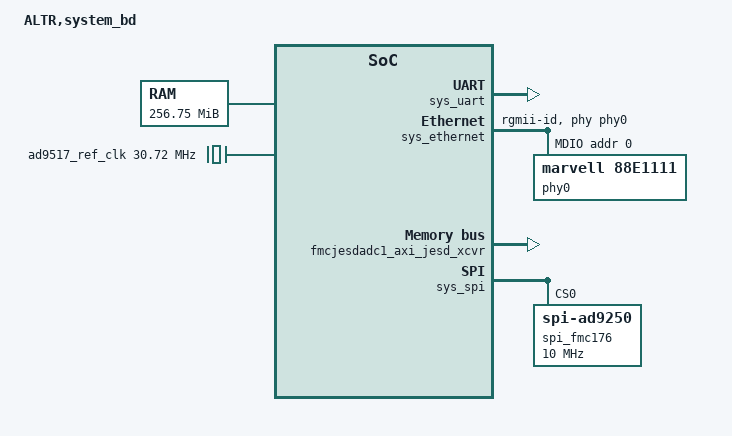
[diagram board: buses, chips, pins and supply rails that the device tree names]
/dts-v1/;

/ {
	model = "ALTR,system_bd";
	compatible = "ALTR,system_bd";
	#address-cells = <1>;
	#size-cells = <1>;

	cpus {
		#address-cells = <1>;
		#size-cells = <0>;

		sys_cpu: cpu@0x0 {
			device_type = "cpu";
			compatible = "altr,nios2-15.0", "altr,nios2-1.1";
			reg = <0x00000000>;
			interrupt-controller;
			#interrupt-cells = <1>;
			altr,exception-addr = <3221225504>;
			altr,fast-tlb-miss-addr = <3573551104>;
			altr,has-initda = <1>;
			altr,has-mmu = <1>;
			altr,has-mul = <1>;
			altr,implementation = "fast";
			altr,pid-num-bits = <8>;
			altr,reset-addr = <3221225472>;
			altr,tlb-num-entries = <128>;
			altr,tlb-num-ways = <16>;
			altr,tlb-ptr-sz = <7>;
			clock-frequency = <100000000>;
			dcache-line-size = <32>;
			dcache-size = <32768>;
			icache-line-size = <32>;
			icache-size = <32768>;
		};
	};

	memory {
		device_type = "memory";
		reg = <0x00000000 0x10000000>,
			<0x15000000 0x000c0000>,
			<0x1520c000 0x00001000>;
	};

	sopc0: sopc@0 {
		device_type = "soc";
		ranges;
		#address-cells = <1>;
		#size-cells = <1>;
		compatible = "ALTR,avalon", "simple-bus";
		bus-frequency = <100000000>;

		sys_uart: serial@0x1520e4e0 {
			compatible = "altr,juart-15.0", "altr,juart-1.0";
			reg = <0x1520e4e0 0x00000008>;
			interrupt-parent = <&sys_cpu>;
			interrupts = <2>;
		};

		sys_ethernet: ethernet@0x1520e000 {
			compatible = "altr,tse-msgdma-15.0", "altr,tse-msgdma-1.0", "altr,tse-1.0";
			reg = <0x1520e000 0x00000400>,
				<0x1520e440 0x00000020>,
				<0x1520e460 0x00000020>,
				<0x1520e480 0x00000008>,
				<0x1520e400 0x00000020>,
				<0x1520e420 0x00000020>;
			reg-names = "control_port", "rx_csr", "rx_desc", "rx_resp", "tx_csr", "tx_desc";
			interrupt-parent = <&sys_cpu>;
			interrupts = <3 1>;
			interrupt-names = "rx_irq", "tx_irq";
			ALTR,rx-fifo-depth = <2048>;
			ALTR,tx-fifo-depth = <2048>;
			rx-fifo-depth = <8192>;
			tx-fifo-depth = <8192>;
			address-bits = <48>;
			max-frame-size = <1518>;
			local-mac-address = [B2 94 3D 6E 1A 05];
			altr,enable-sup-addr = <0>;
			altr,enable-hash = <0>;
			phy-mode = "rgmii-id";
			ALTR,mii-id = <0>;
			phy-handle = < &phy0 >;

			sys_ethernet_mdio: mdio {
				compatible = "altr,tse-mdio";
				#address-cells = <1>;
				#size-cells = <0>;
				phy0: ethernet-phy@0 {
					compatible = "marvell,88e1111";
					reg = <0>;
					device_type = "ethernet-phy";
				};
			};
		};

		sys_id: sysid@0x1520e4d8 {
			compatible = "altr,sysid-15.0", "altr,sysid-1.0";
			reg = <0x1520e4d8 0x00000008>;
			id = <0>;
			timestamp = <1455286667>;
		};

		a5gt_base_sys_cpu_interconnect: bridge@0x20000000 {
			compatible = "ALTR,avalon-15.1", "simple-bus";
			reg = <0x20000000 0x01000000>;
			#address-cells = <1>;
			#size-cells = <1>;
			ranges = <0x00020000 0x20020000 0x00010000>,
				<0x00010000 0x20010000 0x00010000>,
				<0x00034000 0x20034000 0x00004000>,
				<0x00030000 0x20030000 0x00004000>,
				<0x00000000 0x20000000 0x00010000>;

			axi_ad9250_core0: axi-ad9250-hpc-0@0x20000 {
				compatible = "xlnx,axi-ad9250-1.00.a";
				reg = <0x00020000 0x00010000>;
				dmas = <&rx_dma0 0>;
				dma-names = "rx";
				spibus-connected = <&adc0_ad9250>;
			};

			axi_ad9250_core1: axi-ad9250-hpc-1@0x10000 {
				compatible = "xlnx,axi-ad9250-1.00.a";
				reg = <0x00010000 0x00010000>;
				dmas = <&rx_dma1 0>;
				dma-names = "rx";
				spibus-connected = <&adc1_ad9250>;
			};

			rx_dma0: rx-dmac@0x34000 {
				compatible = "adi,axi-dmac-1.00.a";
				reg = <0x00034000 0x00004000>;
				interrupt-parent = <&sys_cpu>;
				interrupts = <8>;
				#dma-cells = <1>;
				clocks = <&axi_dmac0_clkin>;
				clock-names = "axi_dmac0_clkin";
				dma-channel {
					adi,buswidth = <64>;
					adi,type = <0>;
				};
			};

			rx_dma1: rx-dmac@0x30000 {
				compatible = "adi,axi-dmac-1.00.a";
				reg = <0x00030000 0x00004000>;
				interrupt-parent = <&sys_cpu>;
				interrupts = <15>;
				#dma-cells = <1>;
				clocks = <&axi_dmac1_clkin>;
				clock-names = "axi_dmac1_clkin";
				dma-channel {
					adi,buswidth = <64>;
					adi,type = <0>;
				};
			};

			fmcjesdadc1_axi_jesd_xcvr: fmcjesdadc1_axi_jesd_xcvr@0x0 {
				compatible = "adi,altera-xcvr-1.00.a";
				reg = <0x00000000 0x00010000>;
				adi,rx-enable;
			};
		};

		a5gt_base_sys_timer: timer@0x1520e4a0 {
			compatible = "altr,timer-15.0", "altr,timer-1.0";
			reg = <0x1520e4a0 0x00000020>;
			interrupt-parent = <&sys_cpu>;
			interrupts = <0>;
			clock-frequency = <100000000>;
		};

		a5gt_base_sys_timer_2nd: timer@0x1520e540 {
			compatible = "altr,timer-15.0", "altr,timer-1.0";
			reg = <0x1520e540 0x00000020>;
			interrupt-parent = <&sys_cpu>;
			interrupts = <7>;
			clock-frequency = <100000000>;
		};

		clocks {
			ad9517_ref_clk: clock@0 {
				#clock-cells = <0>;
				compatible = "fixed-clock";
				clock-frequency = <30720000>;
				clock-output-names = "refclk";
			};
			ad9517_clkin: clock@1 {
				#clock-cells = <0>;
				compatible = "fixed-clock";
				clock-frequency = <250000000>;
				clock-output-names = "clkin";
			};
			axi_dmac0_clkin: clock@2 {
				#clock-cells = <0>;
				compatible = "fixed-clock";
				clock-frequency = <250000000>;
				clock-output-names = "axi_dmac0_clkin";
			};
			axi_dmac1_clkin: clock@3 {
				#clock-cells = <0>;
				compatible = "fixed-clock";
				clock-frequency = <250000000>;
				clock-output-names = "axi_dmac1_clkin";
			};
		};

		sys_spi: spi@0x1520e500 {
			compatible = "altr,spi-15.0", "altr,spi-1.0";
			reg = <0x1520e500 0x00000020>;
			interrupt-parent = <&sys_cpu>;
			interrupts = <4>;
			#address-cells = <1>;
			#size-cells = <0>;
			spi_fmc176: spi-fmc176@0 {
				#address-cells = <1>;
				#size-cells = <0>;
				compatible = "spi-ad9250";
				reg = <0>;
				spi-max-frequency = <10000000>;
				clk_ad9517: ad9517@4 {
					#address-cells = <1>;
					#size-cells = <0>;
					#clock-cells = <1>;
					compatible = "ad9517-1";
					reg = <1>;
					spi-max-frequency = <10000000>;
					spi-3wire;
					clocks = <&ad9517_ref_clk>, <&ad9517_clkin>;
					clock-names = "refclk", "clkin";
					clock-output-names = "out0", "out1", "out2", "out3", "out4", "out5", "out6", "out7";
				};
				adc0_ad9250: ad9250@0 {
					#address-cells = <1>;
					#size-cells = <0>;
					compatible = "ad9250";
					reg = <2>;
					spi-max-frequency = <10000000>;
					clocks = <&clk_ad9517 0>;
					clock-names = "out0";
				};
				adc1_ad9250: ad9250@1 {
					#address-cells = <1>;
					#size-cells = <0>;
					compatible = "ad9250";
					reg = <3>;
					spi-max-frequency = <10000000>;
					clocks = <&clk_ad9517 1>;
					clock-names = "out1";
				};
			};
		};
	};

	chosen {
		bootargs = "debug console=ttyJ0,115200";
	};
};
